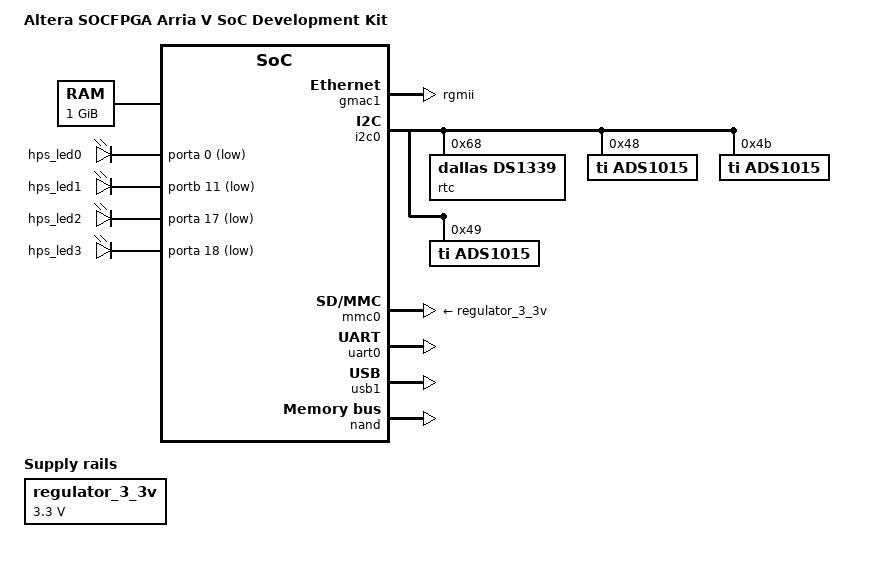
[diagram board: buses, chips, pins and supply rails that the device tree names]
/*
 *  Copyright (C) 2013 Altera Corporation <www.altera.com>
 *
 * This program is free software; you can redistribute it and/or modify
 * it under the terms of the GNU General Public License as published by
 * the Free Software Foundation; either version 2 of the License, or
 * (at your option) any later version.
 *
 * This program is distributed in the hope that it will be useful,
 * but WITHOUT ANY WARRANTY; without even the implied warranty of
 * MERCHANTABILITY or FITNESS FOR A PARTICULAR PURPOSE.  See the
 * GNU General Public License for more details.
 *
 * You should have received a copy of the GNU General Public License
 * along with this program.  If not, see <http://www.gnu.org/licenses/>.
 */

#include "socfpga_arria5.dtsi"

/ {
	model = "Altera SOCFPGA Arria V SoC Development Kit";
	compatible = "altr,socfpga-arria5", "altr,socfpga";

	chosen {
		bootargs = "earlyprintk";
		stdout-path = "serial0:115200n8";
	};

	memory {
		name = "memory";
		device_type = "memory";
		reg = <0x0 0x40000000>; /* 1GB */
	};

	aliases {
		/* this allow the ethaddr uboot environmnet variable contents
		* to be added to the gmac1 device tree blob.
		*/
		ethernet0 = &gmac1;
	};

	regulator_3_3v: 3-3-v-regulator {
		compatible = "regulator-fixed";
		regulator-name = "3.3V";
		regulator-min-microvolt = <3300000>;
		regulator-max-microvolt = <3300000>;
	};

	leds {
		compatible = "gpio-leds";
		hps0 {
			label = "hps_led0";
			gpios = <&porta 0 1>;
		};

		hps1 {
			label = "hps_led1";
			gpios = <&portb 11 1>;
		};

		hps2 {
			label = "hps_led2";
			gpios = <&porta 17 1>;
		};

		hps3 {
			label = "hps_led3";
			gpios = <&porta 18 1>;
		};
	};
};

&gmac1 {
	status = "okay";
	phy-mode = "rgmii";

	rxd0-skew-ps = <0>;
	rxd1-skew-ps = <0>;
	rxd2-skew-ps = <0>;
	rxd3-skew-ps = <0>;
	txen-skew-ps = <0>;
	txc-skew-ps = <3000>;
	rxdv-skew-ps = <0>;
	rxc-skew-ps = <3000>;
	txd0-skew-ps = <0>;
	txd1-skew-ps = <0>;
	txd2-skew-ps = <0>;
	txd3-skew-ps = <0>;
	max-frame-size = <3800>;
};

&gpio0 {
	status = "okay";
};

&gpio1 {
	status = "okay";
};

&gpio2 {
	status = "okay";
};

&i2c0 {
	status = "okay";
	speed-mode = <0>;

	/*
	 * adjust the falling times to decrease the i2c frequency to 50Khz
	 * because the LCD module does not work at the standard 100Khz
	 */
	i2c-sda-falling-time-ns = <5000>;
	i2c-scl-falling-time-ns = <5000>;

	rtc@68 {
		compatible = "dallas,ds1339";
		reg = <0x68>;
	};
	
	ads1015@48 {
		compatible = "ti,ads1015";
		reg = <0x48>;
		#address-cells = <0x1>;
		#size-cells = <0x0>;
		status = "okay";

		channel@4 {
			reg = <0x4>;
			ti,gain = <0x1>;
			ti,datarate = <0x4>;
		};

		channel@5 {
			reg = <0x5>;
			ti,gain = <0x1>;
			ti,datarate = <0x4>;
		};

		channel@6 {
			reg = <0x6>;
			ti,gain = <0x1>;
			ti,datarate = <0x4>;
		};

		channel@7 {
			reg = <0x7>;
			ti,gain = <0x1>;
			ti,datarate = <0x4>;
		};
	};

	ads1015@4b {
		compatible = "ti,ads1015";
		reg = <0x4b>;
		#address-cells = <0x1>;
		#size-cells = <0x0>;
		status = "okay";

		channel@4 {
			reg = <0x4>;
			ti,gain = <0x1>;
			ti,datarate = <0x4>;
		};

		channel@5 {
			reg = <0x5>;
			ti,gain = <0x1>;
			ti,datarate = <0x4>;
		};

		channel@6 {
			reg = <0x6>;
			ti,gain = <0x1>;
			ti,datarate = <0x4>;
		};

		channel@7 {
			reg = <0x7>;
			ti,gain = <0x1>;
			ti,datarate = <0x4>;
		};
	};

	ads1015@49 {
		compatible = "ti,ads1015";
		reg = <0x49>;
		#address-cells = <0x1>;
		#size-cells = <0x0>;
		status = "okay";
	};
};

&mmc0 {
	vmmc-supply = <&regulator_3_3v>;
	vqmmc-supply = <&regulator_3_3v>;
	status = "okay";
};

&qspi {
	status = "disabled";
	flash0: n25q512a@0 {
		#address-cells = <1>;
		#size-cells = <1>;
		compatible = "n25q512a";
		reg = <0>;      /* chip select */
		spi-max-frequency = <100000000>;

		cdns,page-size = <256>;
		cdns,block-size = <16>;
		cdns,read-delay = <4>;
		cdns,tshsl-ns = <50>;
		cdns,tsd2d-ns = <50>;
		cdns,tchsh-ns = <4>;
		cdns,tslch-ns = <4>;

		partition@qspi-boot {
			/* 8MB for raw data. */
			label = "Flash 0 Raw Data";
			reg = <0x0 0x800000>;
		};

		partition@qspi-rootfs {
			/* 56MB for jffs2 data. */
			label = "Flash 0 jffs2 Filesystem";
			reg = <0x800000 0x3800000>;
		};
	};
};

&uart0 {
	status = "okay";
};

&usb1 {
	status = "okay";
};

&nand {
	status = "okay";
	
	partition@nand-boot {
		label = "Bootloader";
		reg = <0x0 0x2440000>;
	};

	partition@nand-rootfs {
		label = "Filesystem";
		reg = <0x2440000 0x345c0000>;
	};

	partition@nand-fpga {
		label = "FPGA";
		reg = <0x36a00000 0x9600000>;
	};
};
